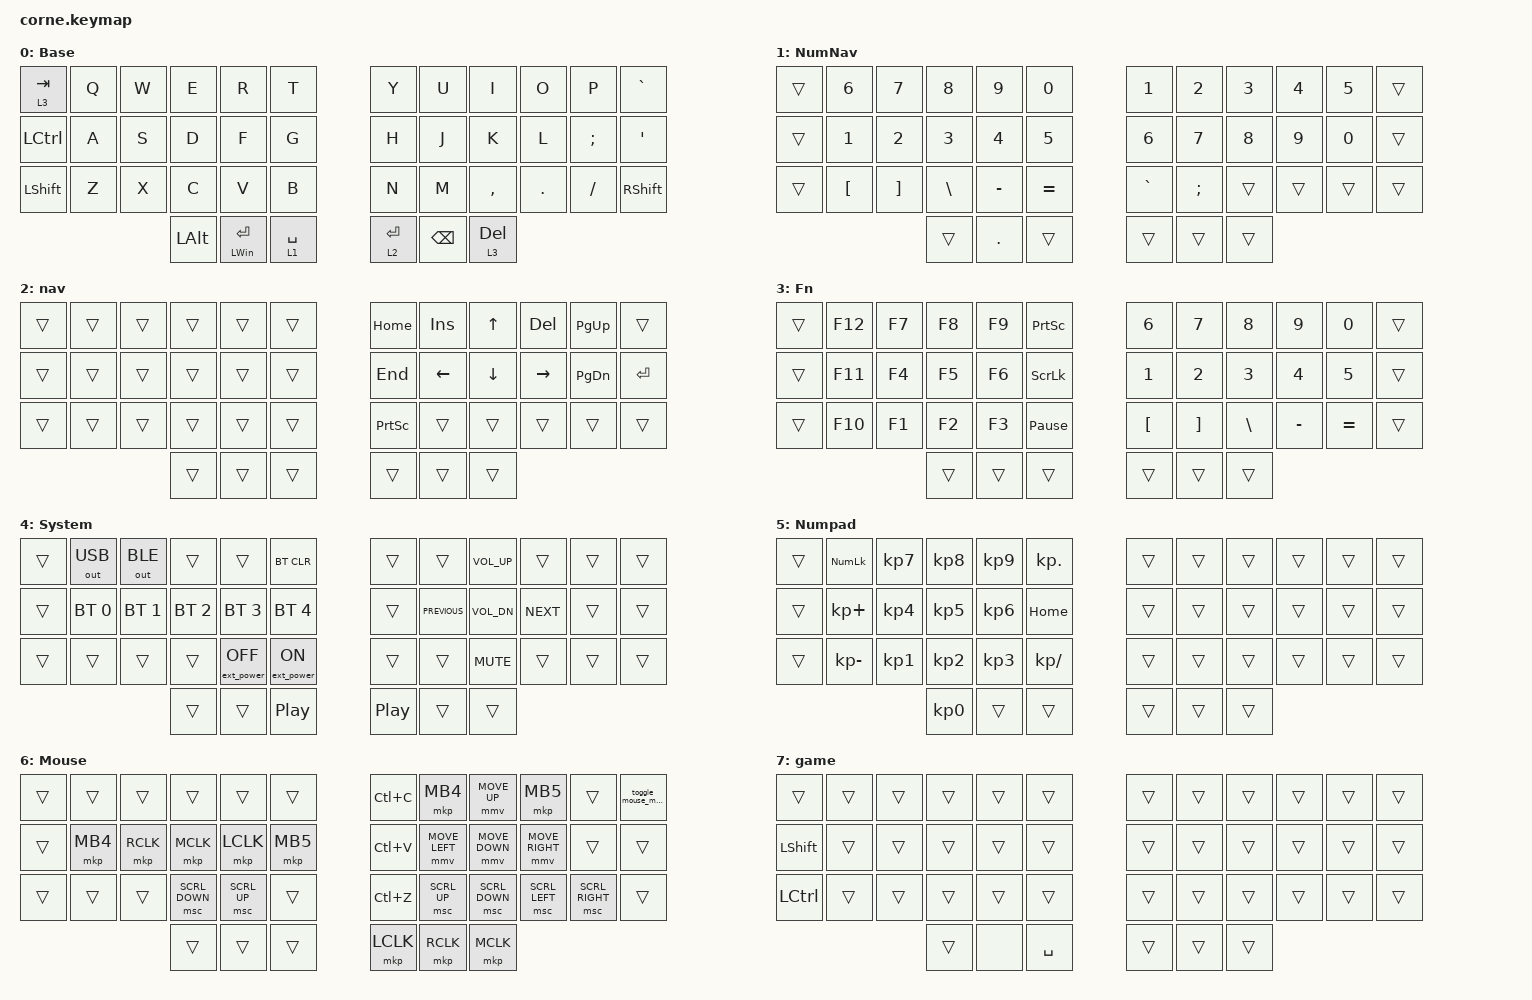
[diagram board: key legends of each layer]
#include <behaviors.dtsi>
#include <dt-bindings/zmk/bt.h>
#include <dt-bindings/zmk/ext_power.h>
#include <dt-bindings/zmk/keys.h>
#include <dt-bindings/zmk/outputs.h>
#include <dt-bindings/zmk/pointing.h>

/*
 * Corne(crkbd) v3 — Lily58 키맵 이식본
 *
 * Layer 순서 (기존 인덱스 유지):
 * 0: default            기본 QWERTY
 * 1: mouse              마우스 이동/클릭/스크롤
 * 2: num_nav            숫자패드 + 내비게이션
 * 3: function           F키 + 숫자열 대체
 * 4: system             BT/출력/전원/미디어
 * 5: numpad_blender     블렌더용 넘패드
 * 6: shift_ctrl_change  좌측 Shift/Ctrl 스왑 (tog)
 *
 * 레이어 진입 키(mo/lt)는 배치가 애매해서 base에서 제외.
 * ZMK Studio에서 직접 할당할 것.
 */

/ {
    behaviors {
        hml: hml {
            compatible = "zmk,behavior-hold-tap";
            label = "HML";
            bindings = <&kp>, <&kp>;

            #binding-cells = <2>;
            tapping-term-ms = <280>;
            quick-tap-ms = <175>;
            require-prior-idle-ms = <75>;
            flavor = "balanced";
            hold-trigger-on-release;

            /* Corne 42키 기준: 오른쪽 절반 + 오른쪽 썸 */

            hold-trigger-key-positions = <6 7 8 9 10 11 18 19 20 21 22 23 30 31 32 33 34 35 39 40 41>;
        };

        hmr: hmr {
            compatible = "zmk,behavior-hold-tap";
            label = "HMR";
            bindings = <&kp>, <&kp>;

            #binding-cells = <2>;
            tapping-term-ms = <280>;
            quick-tap-ms = <175>;
            require-prior-idle-ms = <75>;
            flavor = "balanced";
            hold-trigger-on-release;

            /* Corne 42키 기준: 왼쪽 절반 + 왼쪽 썸 */

            hold-trigger-key-positions = <0 1 2 3 4 5 12 13 14 15 16 17 24 25 26 27 28 29 36 37 38>;
        };

        td_tab2capslock: td_tab2capslock {
            compatible = "zmk,behavior-tap-dance";
            label = "TD_TAB2CAPSLOCK";
            #binding-cells = <0>;
            tapping-term-ms = <200>;
            bindings = <&kp TAB>, <&caps_word>;
        };

        ltbspc: ltbspc {
            compatible = "zmk,behavior-hold-tap";
            label = "LTBSPC";
            bindings = <&mo>, <&kp>;

            #binding-cells = <2>;
            tapping-term-ms = <200>;
            quick-tap-ms = <175>;
            flavor = "tap-preferred";
        };

        mouse_toggle: mouse_toggle {
            compatible = "zmk,behavior-tap-dance";
            label = "MOUSE_TOGGLE";
            #binding-cells = <0>;
            bindings = <&mo 5>, <&tog 6>;
        };

        sifht_ctrl_change: sifht_ctrl_change {
            compatible = "zmk,behavior-tap-dance";
            label = "SIFHT_CTRL_CHANGE";
            #binding-cells = <0>;
            bindings = <&none>, <&tog 0>;
        };

        space_lt: space_lt {
            compatible = "zmk,behavior-hold-tap";
            label = "SPACE_LT";
            bindings = <&mo>, <&kp>;

            #binding-cells = <2>;
            tapping-term-ms = <200>;
            quick-tap-ms = <200>;
            require-prior-idle-ms = <100>;
            flavor = "tap-preferred";
        };

        toggle_mouse_mode: toggle_mouse_mode {
            compatible = "zmk,behavior-tap-dance";
            label = "TOGGLE_MOUSE_MODE";
            #binding-cells = <0>;
            bindings = <&kp GRAVE>, <&mouse_toggle>;
        };
    };

    /*
     * Corne 42키 포지션:
     *  0.. 5 |  6..11
     * 12..17 | 18..23
     * 24..29 | 30..35
     *   36 37 38 | 39 40 41
     */

    combos {
        compatible = "zmk,combos";

        hangul {
            bindings = <&kp LANG_HANGEUL>;
            key-positions = <20 21>;    /* K + L */
        };

        escape {
            bindings = <&kp ESCAPE>;
            key-positions = <0 1>;    /* A + S */
        };

        system {
            bindings = <&mo 4>;
            key-positions = <37 36>;
        };

        tabs {
            bindings = <&kp TAB>;
            key-positions = <0 2>;
        };

        numpad {
            bindings = <&sl 5>;
            key-positions = <38 37>;
        };

        caps {
            bindings = <&kp CAPS>;
            key-positions = <2 3>;
        };

        lshift {
            bindings = <&kp LEFT_SHIFT>;
            key-positions = <13 14>;
        };

        lalt {
            bindings = <&kp LEFT_ALT>;
            key-positions = <16 15>;
        };

        enableSpace {
            bindings = <&tog 7>;
            key-positions = <11 10>;
        };
    };

    keymap {
        compatible = "zmk,keymap";

        /*
         * ------------------------------------------------------
         * Base
         * ------------------------------------------------------
         *
         * TAB  Q  W  E  R  T        Y  U  I  O  P  -
         * CTL  A  S  D  F  G        H  J  K  L  ;  '
         * SFT  Z  X  C  V  B        N  M  ,  .  /  SFT
         *
         *      ALT GUI SPACE    ENTER BSPC DEL
         */

        default_layer {
            display-name = "Base";
            bindings = <
&lt 3 TAB  &kp Q  &kp W  &kp E         &kp R               &kp T                &kp Y        &kp U          &kp I         &kp O    &kp P     &kp GRAVE
&kp LCTRL  &kp A  &kp S  &kp D         &kp F               &kp G                &kp H        &kp J          &kp K         &kp L    &kp SEMI  &kp SQT
&kp LSHFT  &kp Z  &kp X  &kp C         &kp V               &kp B                &kp N        &kp M          &kp COMMA     &kp DOT  &kp FSLH  &kp RIGHT_SHIFT
                         &kp LEFT_ALT  &mt LEFT_WIN ENTER  &space_lt 1 SPACE    &lt 2 ENTER  &kp BACKSPACE  &lt 3 DELETE
            >;
        };

        num {
            display-name = "NumNav";
            bindings = <
&trans  &kp N6    &kp N7    &kp N8    &kp N9     &kp N0       &kp N1     &kp N2    &kp N3  &kp N4  &kp N5  &trans
&trans  &kp N1    &kp N2    &kp N3    &kp N4     &kp N5       &kp N6     &kp N7    &kp N8  &kp N9  &kp N0  &trans
&trans  &kp LBKT  &kp RBKT  &kp BSLH  &kp MINUS  &kp EQUAL    &kp GRAVE  &kp SEMI  &trans  &trans  &trans  &trans
                            &trans    &kp DOT    &trans       &trans     &trans    &trans
            >;
        };

        nav {
            bindings = <
&trans  &trans  &trans  &trans  &trans  &trans    &kp HOME         &kp INSERT      &kp UP_ARROW  &kp DELETE  &kp PAGE_UP    &trans
&trans  &trans  &trans  &trans  &trans  &trans    &kp END          &kp LEFT_ARROW  &kp DOWN      &kp RIGHT   &kp PAGE_DOWN  &kp RET
&trans  &trans  &trans  &trans  &trans  &trans    &kp PRINTSCREEN  &trans          &trans        &trans      &trans         &trans
                        &trans  &trans  &trans    &trans           &trans          &trans
            >;
        };

        function {
            display-name = "Fn";
            bindings = <
&trans  &kp F12  &kp F7  &kp F8  &kp F9  &kp PRINTSCREEN    &kp N6    &kp N7    &kp N8    &kp N9     &kp N0     &trans
&trans  &kp F11  &kp F4  &kp F5  &kp F6  &kp SCROLLLOCK     &kp N1    &kp N2    &kp N3    &kp N4     &kp N5     &trans
&trans  &kp F10  &kp F1  &kp F2  &kp F3  &kp PAUSE_BREAK    &kp LBKT  &kp RBKT  &kp BSLH  &kp MINUS  &kp EQUAL  &trans
                         &trans  &trans  &trans             &trans    &trans    &trans
            >;
        };

        system {
            display-name = "System";
            bindings = <
&trans  &out OUT_USB  &out OUT_BLE  &trans        &trans             &bt BT_CLR          &trans            &trans          &kp C_VOL_UP  &trans      &trans  &trans
&trans  &bt BT_SEL 0  &bt BT_SEL 1  &bt BT_SEL 2  &bt BT_SEL 3       &bt BT_SEL 4        &trans            &kp C_PREVIOUS  &kp C_VOL_DN  &kp C_NEXT  &trans  &trans
&trans  &trans        &trans        &trans        &ext_power EP_OFF  &ext_power EP_ON    &trans            &trans          &kp K_MUTE    &trans      &trans  &trans
                                    &trans        &trans             &kp C_PP            &kp C_PLAY_PAUSE  &trans          &trans
            >;
        };

        numpad_blender {
            display-name = "Numpad";
            bindings = <
&trans  &kp KP_NUMLOCK  &kp KP_NUMBER_7  &kp KP_NUMBER_8  &kp KP_NUMBER_9  &kp KP_DOT      &trans  &trans  &trans  &trans  &trans  &trans
&trans  &kp KP_PLUS     &kp KP_NUMBER_4  &kp KP_NUMBER_5  &kp KP_NUMBER_6  &kp HOME        &trans  &trans  &trans  &trans  &trans  &trans
&trans  &kp KP_MINUS    &kp KP_NUMBER_1  &kp KP_NUMBER_2  &kp KP_NUMBER_3  &kp KP_SLASH    &trans  &trans  &trans  &trans  &trans  &trans
                                         &kp KP_NUMBER_0  &trans           &trans          &trans  &trans  &trans
            >;
        };

        mouse {
            display-name = "Mouse";
            bindings = <
&trans  &trans    &trans     &trans          &trans        &trans      &kp LC(C)  &mkp MB4        &mmv MOVE_UP    &mkp MB5         &trans           &toggle_mouse_mode
&trans  &mkp MB4  &mkp RCLK  &mkp MCLK       &mkp LCLK     &mkp MB5    &kp LC(V)  &mmv MOVE_LEFT  &mmv MOVE_DOWN  &mmv MOVE_RIGHT  &trans           &trans
&trans  &trans    &trans     &msc SCRL_DOWN  &msc SCRL_UP  &trans      &kp LC(Z)  &msc SCRL_UP    &msc SCRL_DOWN  &msc SCRL_LEFT   &msc SCRL_RIGHT  &trans
                             &trans          &trans        &trans      &mkp LCLK  &mkp RCLK       &mkp MCLK
            >;
        };

        game {
            bindings = <
&trans     &trans  &trans  &trans  &trans  &trans       &trans  &trans  &trans  &trans  &trans  &trans
&kp LSHFT  &trans  &trans  &trans  &trans  &trans       &trans  &trans  &trans  &trans  &trans  &trans
&kp LCTRL  &trans  &trans  &trans  &trans  &trans       &trans  &trans  &trans  &trans  &trans  &trans
                           &trans  &none   &kp SPACE    &trans  &trans  &trans
            >;
        };
    };
};
